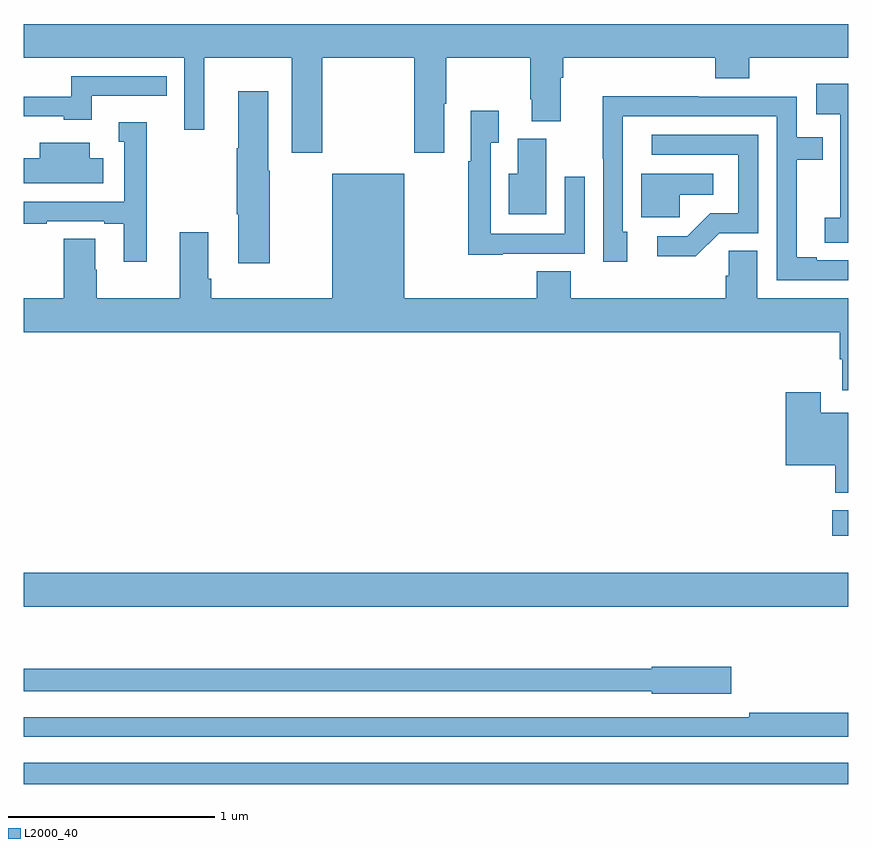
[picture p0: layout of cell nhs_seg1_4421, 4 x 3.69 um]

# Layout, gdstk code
import gdstk
lib = gdstk.Library(unit=1e-6, precision=1e-09)
def R(c, l, rs):  # rectangles x0, y0, x1, y1
    for r in rs: c.add(gdstk.rectangle(r[:2], r[2:], *l))
def P(c, l, *ps):  # polygons
    for p in ps: c.add(gdstk.Polygon(p, *l))
L2000_40 = (2000, 40)

nhs_seg1_4421 = lib.new_cell('nhs_seg1_4421')
R(nhs_seg1_4421, L2000_40, [(351,556.199,355,556.302), (351,557.06,355,557.224), (354.924,557.405,355,557.527)])
P(nhs_seg1_4421, L2000_40, [(352.449,559.724),(352.894,559.724),(352.894,559.263),(353.041,559.263),(353.041,559.502),(353.049,559.502),(353.049,559.724),(353.458,559.724),(353.458,559.522),(353.465,559.522),(353.465,559.417),(353.605,559.417),(353.605,559.628),(353.618,559.628),(353.618,559.724),(354.356,559.724),(354.356,559.625),(354.521,559.625),(354.521,559.724),(355,559.724),(355,559.888),(351,559.888),(351,559.724),(351.777,559.724),(351.777,559.374),(351.874,559.374),(351.874,559.724),(352.301,559.724),(352.301,559.263),(352.449,559.263)],
  [(351.328,559.539),(351.692,559.539),(351.692,559.635),(351.229,559.635),(351.229,559.536),(351,559.536),(351,559.44),(351.192,559.44),(351.192,559.424),(351.328,559.424)],
  [(355,559.597),(354.846,559.597),(354.846,559.449),(354.963,559.449),(354.963,559.145),(354.962,559.145),(354.962,558.948),(354.888,558.948),(354.888,558.826),(355,558.826)],
  [(352.194,559.175),(352.186,559.175),(352.186,559.561),(352.04,559.561),(352.04,559.286),(352.033,559.286),(352.033,558.964),(352.04,558.964),(352.04,558.726),(352.194,558.726)],
  [(355,558.741),(354.847,558.741),(354.847,558.756),(354.751,558.756),(354.751,559.23),(354.878,559.23),(354.878,559.338),(354.75,559.338),(354.75,559.536),(354.272,559.536),(354.272,559.538),(353.81,559.538),(353.81,559.234),(353.811,559.234),(353.811,558.735),(353.929,558.735),(353.929,558.879),(353.907,558.879),(353.907,559.44),(354.654,559.44),(354.654,558.645),(355,558.645)],
  [(353.325,558.774),(353.721,558.774),(353.721,559.147),(353.625,559.147),(353.625,558.87),(353.265,558.87),(353.265,559.312),(353.305,559.312),(353.305,559.468),(353.169,559.468),(353.169,559.223),(353.157,559.223),(353.157,558.767),(353.325,558.767)],
  [(351.595,559.411),(351.461,559.411),(351.461,559.317),(351.486,559.317),(351.486,559.026),(351,559.026),(351,558.918),(351.11,558.918),(351.11,558.93),(351.389,558.93),(351.389,558.918),(351.485,558.918),(351.485,558.735),(351.595,558.735)],
  [(354.375,558.873),(354.564,558.873),(354.564,559.35),(354.048,559.35),(354.048,559.254),(354.468,559.254),(354.468,558.969),(354.33,558.969),(354.219,558.858),(354.075,558.858),(354.075,558.761),(354.262,558.761)],
  [(353.536,559.332),(353.396,559.332),(353.396,559.162),(353.354,559.162),(353.354,558.965),(353.536,558.965)],
  [(351.385,559.237),(351.319,559.237),(351.319,559.312),(351.077,559.312),(351.077,559.237),(351,559.237),(351,559.115),(351.385,559.115)],
  [(354.183,559.058),(354.346,559.058),(354.346,559.162),(353.996,559.162),(353.996,558.951),(354.183,558.951)],
  [(355,558.556),(354.559,558.556),(354.559,558.788),(354.42,558.788),(354.42,558.665),(354.407,558.665),(354.407,558.556),(353.654,558.556),(353.654,558.689),(353.489,558.689),(353.489,558.556),(352.846,558.556),(352.846,559.162),(352.496,559.162),(352.496,558.556),(351.908,558.556),(351.908,558.652),(351.895,558.652),(351.895,558.877),(351.755,558.877),(351.755,558.556),(351.354,558.556),(351.354,558.695),(351.346,558.695),(351.346,558.845),(351.194,558.845),(351.194,558.556),(351,558.556),(351,558.392),(354.959,558.392),(354.959,558.26),(354.971,558.26),(354.971,558.111),(355,558.111)],
  [(355,558.001),(354.868,558.001),(354.868,558.1),(354.698,558.1),(354.698,557.747),(354.938,557.747),(354.938,557.612),(355,557.612)],
  [(354.433,556.767),(354.048,556.767),(354.048,556.759),(351,556.759),(351,556.65),(354.048,556.65),(354.048,556.637),(354.433,556.637)],
  [(355,556.544),(354.52,556.544),(354.52,556.524),(351,556.524),(351,556.428),(355,556.428)])

lib.write_gds('nhs_seg1_4421.gds')
